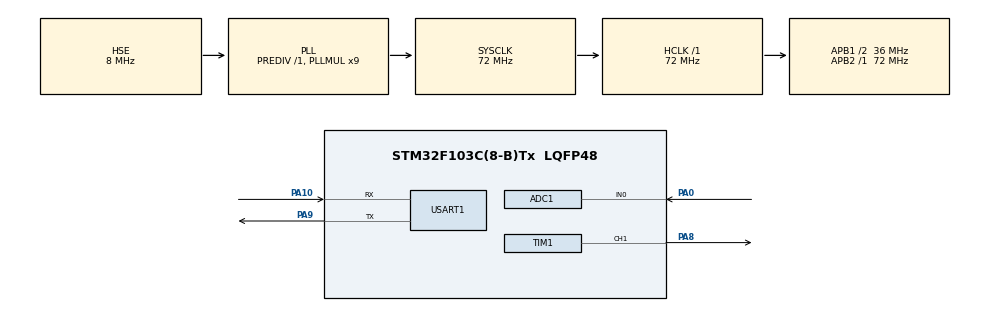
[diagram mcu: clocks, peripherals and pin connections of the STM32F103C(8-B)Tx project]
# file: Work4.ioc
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ADC1.Channel-0\#ChannelRegularConversion=ADC_CHANNEL_0
ADC1.NbrOfConversionFlag=1
ADC1.Rank-0\#ChannelRegularConversion=1
ADC1.SamplingTime-0\#ChannelRegularConversion=ADC_SAMPLETIME_1CYCLE_5
ADC1.master=1
Mcu.Family=STM32F1
Mcu.Name=STM32F103C(8-B)Tx
Mcu.Package=LQFP48
NVIC.PriorityGroup=NVIC_PRIORITYGROUP_4
NVIC.USART1_IRQn=true\:0\:0\:false\:false\:true\:true\:true\:true
PA0-WKUP.Signal=ADCx_IN0
PA10.Mode=Asynchronous
PA10.Signal=USART1_RX
PA13.Mode=Serial_Wire
PA13.Signal=SYS_JTMS-SWDIO
PA14.Mode=Serial_Wire
PA14.Signal=SYS_JTCK-SWCLK
PA8.Signal=S_TIM1_CH1
PA9.Mode=Asynchronous
PA9.Signal=USART1_TX
PD0-OSC_IN.Mode=HSE-External-Oscillator
PD0-OSC_IN.Signal=RCC_OSC_IN
PD1-OSC_OUT.Mode=HSE-External-Oscillator
PD1-OSC_OUT.Signal=RCC_OSC_OUT
ProjectManager.HeapSize=0x200
ProjectManager.StackSize=0x400
ProjectManager.TargetToolchain=MDK-ARM V5.32
RCC.ADCPresc=RCC_ADCPCLK2_DIV6
RCC.AHBFreq_Value=72000000
RCC.APB1CLKDivider=RCC_HCLK_DIV2
RCC.APB1Freq_Value=36000000
RCC.APB1TimFreq_Value=72000000
RCC.APB2Freq_Value=72000000
RCC.APB2TimFreq_Value=72000000
RCC.HCLKFreq_Value=72000000
RCC.PLLMUL=RCC_PLL_MUL9
RCC.PLLSourceVirtual=RCC_PLLSOURCE_HSE
RCC.SYSCLKFreq_VALUE=72000000
RCC.SYSCLKSource=RCC_SYSCLKSOURCE_PLLCLK
RCC.USBFreq_Value=72000000
SH.ADCx_IN0.0=ADC1_IN0,IN0
SH.S_TIM1_CH1.0=TIM1_CH1,PWM Generation1 CH1
TIM1.Channel-PWM\ Generation1\ CH1=TIM_CHANNEL_1
TIM1.Period=7199
TIM1.Pulse-PWM\ Generation1\ CH1=20
USART1.VirtualMode=VM_ASYNC
VP_TIM1_VS_ClockSourceINT.Mode=Internal
board=custom

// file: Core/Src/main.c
/* USER CODE BEGIN Header */
/**
  ******************************************************************************
  * @file           : main.c
  * @brief          : Main program body
  ******************************************************************************
  * @attention
  *
  * Copyright (c) 2024 STMicroelectronics.
  * All rights reserved.
  *
  * This software is licensed under terms that can be found in the LICENSE file
  * in the root directory of this software component.
  * If no LICENSE file comes with this software, it is provided AS-IS.
  *
  ******************************************************************************
  */
/* USER CODE END Header */
#include "main.h"
#include "adc.h"
#include "tim.h"
#include "usart.h"
#include "gpio.h"

/* USER CODE BEGIN Includes */
#include "stdio.h"                  //包含了标准输入输出
/* USER CODE END Includes */

/* USER CODE BEGIN PV */
uint16_t ADValue;                   // 定义ADValue全局变量
float Voltage;                      // 定义浮点型电压值
/* USER CODE END PV */

void SystemClock_Config(void);
/* USER CODE BEGIN PFP */
uint16_t AD_GetValue(void)                // 定义一个函数，用于获取ADC的值
{
    HAL_ADC_Start(&hadc1);                //开启ADC
    HAL_ADC_PollForConversion(&hadc1,1);  // 等待ADC转换完成，最多等待1毫秒
    return HAL_ADC_GetValue(&hadc1);      // 获取ADC转换的结果值
}

void Serial_SendByte(uint8_t Byte)       // 定义一个函数，用于通过串口发送一个字节
{
      HAL_UART_Transmit(&huart1,&Byte,1,100);// 通过串口发送一个字节的数据
      while(__HAL_UART_GET_FLAG(&huart1,UART_FLAG_TXE) == RESET);// 等待发送完毕
}

int fputc(int ch , FILE *f) // 重定义fputc函数，用于将数据发送到串口
{
    Serial_SendByte(ch);     // 调用Serial_SendByte函数发送数据
    return ch;              // 返回发送的字符
}

/* USER CODE END PFP */

int main(void)
{

  /* MCU Configuration--------------------------------------------------------*/

  /* Reset of all peripherals, Initializes the Flash interface and the Systick. */
  HAL_Init();

  /* Configure the system clock */
  SystemClock_Config();

  /* Initialize all configured peripherals */
  MX_GPIO_Init();
  MX_ADC1_Init();
  MX_TIM1_Init();
  MX_USART1_UART_Init();
  /* USER CODE BEGIN 2 */
   HAL_ADCEx_Calibration_Start(&hadc1);         // 开始ADC校准
   HAL_TIM_PWM_Start(&htim1,TIM_CHANNEL_1);     // 开始PWM输出
  /* USER CODE END 2 */

  /* Infinite loop */
  while (1)
  {

    /* USER CODE BEGIN 3 */
    ADValue = AD_GetValue();                       // 获取ADC值
    Voltage = ((float)ADValue / 4095) * 3.3;       // 将ADC值转换为电压值

    uint32_t CompareValue = (uint32_t)((Voltage / 3.3) * 7199); // 根据电压计算占空比

    /* 设置PWM比较值，直接使用计算出的占空比 */
    __HAL_TIM_SET_COMPARE(&htim1, TIM_CHANNEL_1, 7199 - CompareValue);

    // 打印电压值、ADC值和占空比
    printf("Voltage:%.2f\r\n", Voltage);
    printf("ADValue:%d\r\n", ADValue);
    printf("Duty:%lu\r\n", CompareValue);  // 使用%lu打印uint32_t类型的值
    printf("\r\n");     //换行打印
    HAL_Delay(1000); // 延时1秒

  }
  /* USER CODE END 3 */
}

void SystemClock_Config(void)
{
  RCC_OscInitTypeDef RCC_OscInitStruct = {0};
  RCC_ClkInitTypeDef RCC_ClkInitStruct = {0};
  RCC_PeriphCLKInitTypeDef PeriphClkInit = {0};

  /** Initializes the RCC Oscillators according to the specified parameters
  * in the RCC_OscInitTypeDef structure.
  */
  RCC_OscInitStruct.OscillatorType = RCC_OSCILLATORTYPE_HSE;
  RCC_OscInitStruct.HSEState = RCC_HSE_ON;
  RCC_OscInitStruct.HSEPredivValue = RCC_HSE_PREDIV_DIV1;
  RCC_OscInitStruct.HSIState = RCC_HSI_ON;
  RCC_OscInitStruct.PLL.PLLState = RCC_PLL_ON;
  RCC_OscInitStruct.PLL.PLLSource = RCC_PLLSOURCE_HSE;
  RCC_OscInitStruct.PLL.PLLMUL = RCC_PLL_MUL9;
  if (HAL_RCC_OscConfig(&RCC_OscInitStruct) != HAL_OK)
  {
    Error_Handler();
  }

  /** Initializes the CPU, AHB and APB buses clocks
  */
  RCC_ClkInitStruct.ClockType = RCC_CLOCKTYPE_HCLK|RCC_CLOCKTYPE_SYSCLK
                              |RCC_CLOCKTYPE_PCLK1|RCC_CLOCKTYPE_PCLK2;
  RCC_ClkInitStruct.SYSCLKSource = RCC_SYSCLKSOURCE_PLLCLK;
  RCC_ClkInitStruct.AHBCLKDivider = RCC_SYSCLK_DIV1;
  RCC_ClkInitStruct.APB1CLKDivider = RCC_HCLK_DIV2;
  RCC_ClkInitStruct.APB2CLKDivider = RCC_HCLK_DIV1;

  if (HAL_RCC_ClockConfig(&RCC_ClkInitStruct, FLASH_LATENCY_2) != HAL_OK)
  {
    Error_Handler();
  }
  PeriphClkInit.PeriphClockSelection = RCC_PERIPHCLK_ADC;
  PeriphClkInit.AdcClockSelection = RCC_ADCPCLK2_DIV6;
  if (HAL_RCCEx_PeriphCLKConfig(&PeriphClkInit) != HAL_OK)
  {
    Error_Handler();
  }
}

void Error_Handler(void)
{
  __disable_irq();
  while (1)
  {
  }
}
